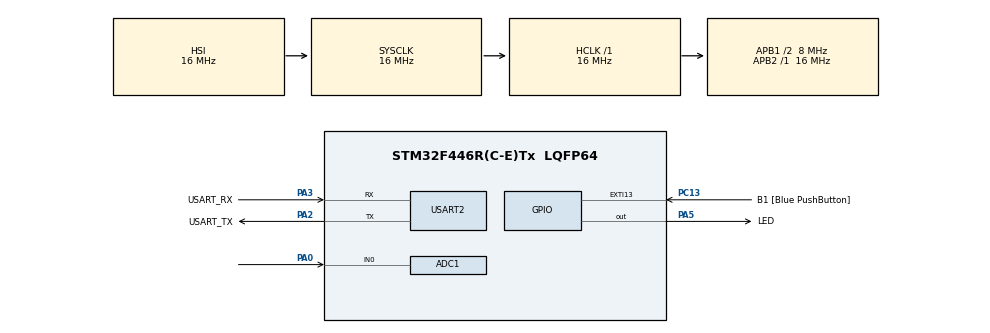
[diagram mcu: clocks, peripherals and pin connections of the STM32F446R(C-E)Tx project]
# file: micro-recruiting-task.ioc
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ADC1.NbrOfConversionFlag=1
ADC1.master=1
Dma.ADC1.0.Direction=DMA_PERIPH_TO_MEMORY
Dma.ADC1.0.FIFOMode=DMA_FIFOMODE_DISABLE
Dma.ADC1.0.Instance=DMA2_Stream0
Dma.ADC1.0.MemDataAlignment=DMA_MDATAALIGN_HALFWORD
Dma.ADC1.0.MemInc=DMA_MINC_ENABLE
Dma.ADC1.0.Mode=DMA_NORMAL
Dma.ADC1.0.PeriphDataAlignment=DMA_PDATAALIGN_HALFWORD
Dma.ADC1.0.PeriphInc=DMA_PINC_DISABLE
Dma.ADC1.0.Priority=DMA_PRIORITY_LOW
Dma.Request0=ADC1
Mcu.Family=STM32F4
Mcu.Name=STM32F446R(C-E)Tx
Mcu.Package=LQFP64
NVIC.DMA2_Stream0_IRQn=true\:0\:0\:false\:false\:true\:false\:true\:true
NVIC.PriorityGroup=NVIC_PRIORITYGROUP_0
NVIC.TIM6_DAC_IRQn=true\:0\:0\:false\:false\:true\:true\:true\:true
NVIC.TIM7_IRQn=true\:0\:0\:false\:false\:true\:true\:true\:true
NVIC.USART2_IRQn=true\:0\:0\:false\:false\:true\:true\:true\:true
PA0-WKUP.Signal=ADCx_IN0
PA13.GPIO_Label=TMS
PA13.Mode=Serial_Wire
PA13.Signal=SYS_JTMS-SWDIO
PA14.GPIO_Label=TCK
PA14.Mode=Serial_Wire
PA14.Signal=SYS_JTCK-SWCLK
PA2.GPIO_Label=USART_TX
PA2.Mode=Asynchronous
PA2.Signal=USART2_TX
PA3.GPIO_Label=USART_RX
PA3.Mode=Asynchronous
PA3.Signal=USART2_RX
PA5.GPIO_Label=LED
PA5.Signal=GPIO_Output
PB3.GPIO_Label=SWO
PB3.Signal=SYS_JTDO-SWO
PC13.GPIO_Label=B1 [Blue PushButton]
PC13.GPIO_ModeDefaultEXTI=GPIO_MODE_IT_FALLING
PC13.Signal=GPXTI13
PC14-OSC32_IN.Mode=LSE-External-Oscillator
PC14-OSC32_IN.Signal=RCC_OSC32_IN
PC15-OSC32_OUT.Mode=LSE-External-Oscillator
PC15-OSC32_OUT.Signal=RCC_OSC32_OUT
PH0-OSC_IN.Mode=HSE-External-Oscillator
PH0-OSC_IN.Signal=RCC_OSC_IN
PH1-OSC_OUT.Mode=HSE-External-Oscillator
PH1-OSC_OUT.Signal=RCC_OSC_OUT
ProjectManager.HeapSize=0x200
ProjectManager.StackSize=0x400
ProjectManager.TargetToolchain=Makefile
RCC.48MHZClocksFreq_Value=84000000
RCC.AHBFreq_Value=16000000
RCC.APB1CLKDivider=RCC_HCLK_DIV2
RCC.APB1Freq_Value=8000000
RCC.APB1TimFreq_Value=16000000
RCC.APB2Freq_Value=16000000
RCC.APB2TimFreq_Value=16000000
RCC.CortexFreq_Value=16000000
RCC.FLatency-AdvancedSettings=FLASH_LATENCY_0
RCC.HCLKFreq_Value=16000000
RCC.HSE_VALUE=8000000
RCC.HSI_VALUE=16000000
RCC.PLLN=336
RCC.PLLP=RCC_PLLP_DIV4
RCC.SYSCLKFreq_VALUE=16000000
RCC.USBFreq_Value=168000000
RCC.VCOOutputFreq_Value=336000000
SH.ADCx_IN0.0=ADC1_IN0,IN0
TIM6.AutoReloadPreload=TIM_AUTORELOAD_PRELOAD_DISABLE
TIM6.Period=62499
TIM6.Prescaler=255
TIM7.Period=49999
TIM7.Prescaler=63
USART2.VirtualMode=VM_ASYNC
VP_TIM6_VS_ClockSourceINT.Mode=Enable_Timer
VP_TIM7_VS_ClockSourceINT.Mode=Enable_Timer
board=NUCLEO-F446RE

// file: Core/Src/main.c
/* USER CODE BEGIN Header */
/**
 ******************************************************************************
 * @file           : main.c
 * @brief          : Main program body
 ******************************************************************************
 * @attention
 *
 * Copyright (c) 2025 STMicroelectronics.
 * All rights reserved.
 *
 * This software is licensed under terms that can be found in the LICENSE file
 * in the root directory of this software component.
 * If no LICENSE file comes with this software, it is provided AS-IS.
 *
 ******************************************************************************
 */
/* USER CODE END Header */
#include "main.h"

/* USER CODE BEGIN Includes */
#include "common.h"
#include "fsm.h"
#include "hall.h"
#include "serial.h"

#include <stdlib.h>
/* USER CODE END Includes */

/* USER CODE BEGIN PM */
#define USER_BTN_PIN GPIO_PIN_13
#define USER_LED_PIN GPIO_PIN_5
#define PAUSE_BLINK_PERIOD 2000
#define ERROR_BLINK_PERIOD 400
#define WARNING_TIME_TOLLERANCE 5000
/* USER CODE END PM */

ADC_HandleTypeDef hadc1;
DMA_HandleTypeDef hdma_adc1;

TIM_HandleTypeDef htim6;
TIM_HandleTypeDef htim7;

UART_HandleTypeDef huart2;

/* USER CODE BEGIN PV */
_Bool timer_flag;
/* USER CODE END PV */

void SystemClock_Config(void);
static void MX_GPIO_Init(void);
static void MX_DMA_Init(void);
static void MX_USART2_UART_Init(void);
static void MX_ADC1_Init(void);
static void MX_TIM6_Init(void);
static void MX_TIM7_Init(void);
/* USER CODE BEGIN PFP */
void HAL_TIM_PeriodElapsedCallback(TIM_HandleTypeDef *htim);
__INLINE _Bool is_button_pressed(void);
__INLINE _Bool led_is_on(void);
__INLINE void led_on(void);
__INLINE void led_off(void);
__INLINE void led_toggle(void);
void init_task(void);
void wait_req_task(void);
void listening_task(void);
void pause_task(void);
void warning_task(void);
void error_task(void);
/* USER CODE END PFP */

int main(void)
{

  /* MCU Configuration--------------------------------------------------------*/

  /* Reset of all peripherals, Initializes the Flash interface and the Systick. */
  HAL_Init();

  /* Configure the system clock */
  SystemClock_Config();

  /* Initialize all configured peripherals */
  MX_GPIO_Init();
  MX_DMA_Init();
  MX_USART2_UART_Init();
  MX_ADC1_Init();
  MX_TIM6_Init();
  MX_TIM7_Init();
  /* USER CODE BEGIN 2 */
    srand(HAL_GetTick());
    timer_flag = FALSE;

    fsm_init();
    serial_init(&huart2);
    void (*tasks[FSM_STATE_NUM])(void) = {
        init_task, wait_req_task, listening_task, pause_task, warning_task, Error_Handler};
  /* USER CODE END 2 */

  /* Infinite loop */
  /* USER CODE BEGIN WHILE */
    while (TRUE) {
        (*tasks[fsm_get_state()])();
    /* USER CODE END WHILE */

    }
}

void SystemClock_Config(void)
{
  RCC_OscInitTypeDef RCC_OscInitStruct = {0};
  RCC_ClkInitTypeDef RCC_ClkInitStruct = {0};

  /** Configure the main internal regulator output voltage
  */
  __HAL_RCC_PWR_CLK_ENABLE();
  __HAL_PWR_VOLTAGESCALING_CONFIG(PWR_REGULATOR_VOLTAGE_SCALE3);

  /** Initializes the RCC Oscillators according to the specified parameters
  * in the RCC_OscInitTypeDef structure.
  */
  RCC_OscInitStruct.OscillatorType = RCC_OSCILLATORTYPE_HSI;
  RCC_OscInitStruct.HSIState = RCC_HSI_ON;
  RCC_OscInitStruct.HSICalibrationValue = RCC_HSICALIBRATION_DEFAULT;
  RCC_OscInitStruct.PLL.PLLState = RCC_PLL_NONE;
  if (HAL_RCC_OscConfig(&RCC_OscInitStruct) != HAL_OK)
  {
    Error_Handler();
  }

  /** Initializes the CPU, AHB and APB buses clocks
  */
  RCC_ClkInitStruct.ClockType = RCC_CLOCKTYPE_HCLK|RCC_CLOCKTYPE_SYSCLK
                              |RCC_CLOCKTYPE_PCLK1|RCC_CLOCKTYPE_PCLK2;
  RCC_ClkInitStruct.SYSCLKSource = RCC_SYSCLKSOURCE_HSI;
  RCC_ClkInitStruct.AHBCLKDivider = RCC_SYSCLK_DIV1;
  RCC_ClkInitStruct.APB1CLKDivider = RCC_HCLK_DIV2;
  RCC_ClkInitStruct.APB2CLKDivider = RCC_HCLK_DIV1;

  if (HAL_RCC_ClockConfig(&RCC_ClkInitStruct, FLASH_LATENCY_0) != HAL_OK)
  {
    Error_Handler();
  }
}

static void MX_ADC1_Init(void)
{

  /** Configure the global features of the ADC (Clock, Resolution, Data Alignment and number of conversion)
  */
  hadc1.Instance = ADC1;
  hadc1.Init.ClockPrescaler = ADC_CLOCK_SYNC_PCLK_DIV2;
  hadc1.Init.Resolution = ADC_RESOLUTION_12B;
  hadc1.Init.ScanConvMode = DISABLE;
  hadc1.Init.ContinuousConvMode = DISABLE;
  hadc1.Init.DiscontinuousConvMode = DISABLE;
  hadc1.Init.ExternalTrigConvEdge = ADC_EXTERNALTRIGCONVEDGE_NONE;
  hadc1.Init.ExternalTrigConv = ADC_SOFTWARE_START;
  hadc1.Init.DataAlign = ADC_DATAALIGN_RIGHT;
  hadc1.Init.NbrOfConversion = 1;
  hadc1.Init.DMAContinuousRequests = DISABLE;
  hadc1.Init.EOCSelection = ADC_EOC_SINGLE_CONV;
  if (HAL_ADC_Init(&hadc1) != HAL_OK)
  {
    Error_Handler();
  }

}

static void MX_TIM6_Init(void)
{

  TIM_MasterConfigTypeDef sMasterConfig = {0};

  htim6.Instance = TIM6;
  htim6.Init.Prescaler = 255;
  htim6.Init.CounterMode = TIM_COUNTERMODE_UP;
  htim6.Init.Period = 62499;
  htim6.Init.AutoReloadPreload = TIM_AUTORELOAD_PRELOAD_DISABLE;
  if (HAL_TIM_Base_Init(&htim6) != HAL_OK)
  {
    Error_Handler();
  }
  sMasterConfig.MasterOutputTrigger = TIM_TRGO_RESET;
  sMasterConfig.MasterSlaveMode = TIM_MASTERSLAVEMODE_DISABLE;
  if (HAL_TIMEx_MasterConfigSynchronization(&htim6, &sMasterConfig) != HAL_OK)
  {
    Error_Handler();
  }

}

static void MX_TIM7_Init(void)
{

  TIM_MasterConfigTypeDef sMasterConfig = {0};

  htim7.Instance = TIM7;
  htim7.Init.Prescaler = 63;
  htim7.Init.CounterMode = TIM_COUNTERMODE_UP;
  htim7.Init.Period = 49999;
  htim7.Init.AutoReloadPreload = TIM_AUTORELOAD_PRELOAD_DISABLE;
  if (HAL_TIM_Base_Init(&htim7) != HAL_OK)
  {
    Error_Handler();
  }
  sMasterConfig.MasterOutputTrigger = TIM_TRGO_RESET;
  sMasterConfig.MasterSlaveMode = TIM_MASTERSLAVEMODE_DISABLE;
  if (HAL_TIMEx_MasterConfigSynchronization(&htim7, &sMasterConfig) != HAL_OK)
  {
    Error_Handler();
  }

}

static void MX_USART2_UART_Init(void)
{

  huart2.Instance = USART2;
  huart2.Init.BaudRate = 115200;
  huart2.Init.WordLength = UART_WORDLENGTH_8B;
  huart2.Init.StopBits = UART_STOPBITS_1;
  huart2.Init.Parity = UART_PARITY_NONE;
  huart2.Init.Mode = UART_MODE_TX_RX;
  huart2.Init.HwFlowCtl = UART_HWCONTROL_NONE;
  huart2.Init.OverSampling = UART_OVERSAMPLING_16;
  if (HAL_UART_Init(&huart2) != HAL_OK)
  {
    Error_Handler();
  }

}

static void MX_DMA_Init(void)
{

  /* DMA controller clock enable */
  __HAL_RCC_DMA2_CLK_ENABLE();

  /* DMA interrupt init */
  /* DMA2_Stream0_IRQn interrupt configuration */
  HAL_NVIC_SetPriority(DMA2_Stream0_IRQn, 0, 0);
  HAL_NVIC_EnableIRQ(DMA2_Stream0_IRQn);

}

static void MX_GPIO_Init(void)
{
  GPIO_InitTypeDef GPIO_InitStruct = {0};

  /* GPIO Ports Clock Enable */
  __HAL_RCC_GPIOC_CLK_ENABLE();
  __HAL_RCC_GPIOH_CLK_ENABLE();
  __HAL_RCC_GPIOA_CLK_ENABLE();
  __HAL_RCC_GPIOB_CLK_ENABLE();

  /*Configure GPIO pin Output Level */
  HAL_GPIO_WritePin(LED_GPIO_Port, LED_Pin, GPIO_PIN_RESET);

  /*Configure GPIO pin : B1_Pin */
  GPIO_InitStruct.Pin = B1_Pin;
  GPIO_InitStruct.Mode = GPIO_MODE_IT_FALLING;
  GPIO_InitStruct.Pull = GPIO_NOPULL;
  HAL_GPIO_Init(B1_GPIO_Port, &GPIO_InitStruct);

  /*Configure GPIO pin : LED_Pin */
  GPIO_InitStruct.Pin = LED_Pin;
  GPIO_InitStruct.Mode = GPIO_MODE_OUTPUT_PP;
  GPIO_InitStruct.Pull = GPIO_NOPULL;
  GPIO_InitStruct.Speed = GPIO_SPEED_FREQ_LOW;
  HAL_GPIO_Init(LED_GPIO_Port, &GPIO_InitStruct);

}

/* USER CODE BEGIN 4 */
void HAL_TIM_PeriodElapsedCallback(TIM_HandleTypeDef *htim) {
    timer_flag = TRUE;
}

__INLINE _Bool is_button_pressed(void) {
    return GPIO_PIN_RESET == HAL_GPIO_ReadPin(GPIOC, USER_BTN_PIN);
}

__INLINE _Bool led_is_on(void) {
    return GPIO_PIN_SET == HAL_GPIO_ReadPin(GPIOA, USER_LED_PIN);
}

__INLINE void led_on(void) {
    HAL_GPIO_WritePin(GPIOA, USER_LED_PIN, GPIO_PIN_SET);
}

__INLINE void led_off(void) {
    HAL_GPIO_WritePin(GPIOA, USER_LED_PIN, GPIO_PIN_RESET);
}

__INLINE void led_toggle(void) { HAL_GPIO_TogglePin(GPIOA, USER_LED_PIN); }

void init_task(void) {
    fsm_update(FSM_STATE_INIT);
}

void wait_req_task(void) {
    if (led_is_on()) {
        led_off();
    }

    serial_read();
    if (serial_buff_is_ready()) {
        serial_parse_buff();
    }

    if (is_button_pressed()) {
        fsm_update(FSM_EVENT_BTN_PRESSED);
    }
}

void listening_task(void) {
    static _Bool prev_high = TRUE;
    static uint32_t start_time;

    if (!led_is_on()) {
        led_on();
    }

    hall_read_data(&hadc1);
    if (hall_data_is_ready()) {
        uint16_t data = hall_get_data();
        // uint16_t data = (uint16_t)rand()%0xfff; // test purpose only.
        serial_send_data(data);

        if (0xfff == data) {
            if (!prev_high) {
                prev_high = TRUE;
                start_time = HAL_GetTick();
            }

            if ((start_time - HAL_GetTick()) >= WARNING_TIME_TOLLERANCE) {
                fsm_update(FSM_EVENT_WARNING);
            }
        } else {
            prev_high = FALSE;
        }
    }

    if (is_button_pressed()) {
        fsm_update(FSM_EVENT_BTN_PRESSED);
    }
}

void pause_task(void) {
    HAL_StatusTypeDef status = HAL_TIM_Base_Start_IT(&htim6);

    if (timer_flag) {
        timer_flag = FALSE;
        led_toggle();
    }

    serial_read();
    if (serial_buff_is_ready()) {
        serial_parse_buff();
    }

    if (is_button_pressed()) {
        timer_flag = FALSE;
        HAL_TIM_Base_Stop_IT(&htim6);
        fsm_update(FSM_EVENT_BTN_PRESSED);
    }
}

void warning_task(void) {
    if (led_is_on()) {
        led_off();
    }

    serial_send("WARNING");

    if (is_button_pressed()) {
        fsm_update(FSM_EVENT_BTN_PRESSED);
    }
}

void error_task(void) {
    HAL_TIM_Base_Start_IT(&htim7);

    if (timer_flag) {
        timer_flag = FALSE;
        led_toggle();
    }

    serial_send("ERROR");

    if (is_button_pressed()) {
        timer_flag = FALSE;
        HAL_TIM_Base_Stop_IT(&htim7);
        NVIC_SystemReset();
    }
}
/* USER CODE END 4 */

void Error_Handler(void)
{
  /* USER CODE BEGIN Error_Handler_Debug */

    fsm_update(FSM_EVENT_ERROR);

  /* USER CODE END Error_Handler_Debug */
}
